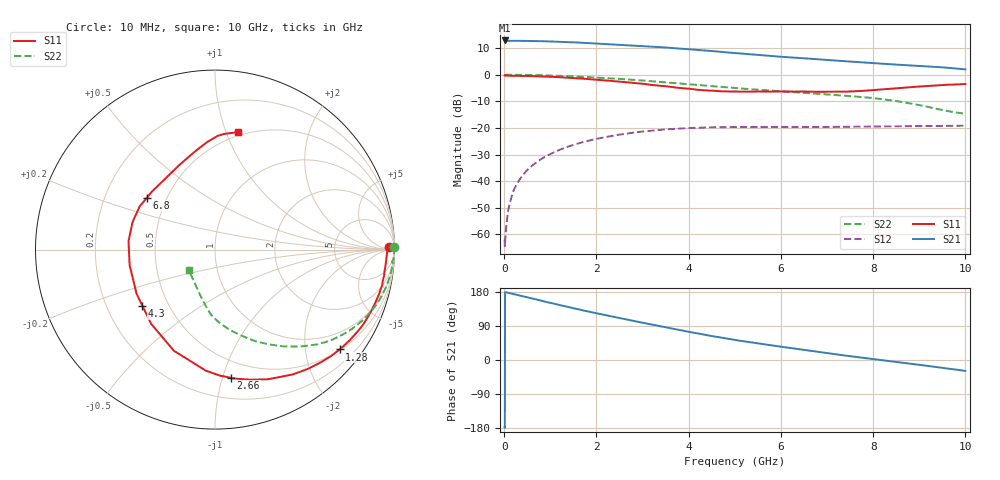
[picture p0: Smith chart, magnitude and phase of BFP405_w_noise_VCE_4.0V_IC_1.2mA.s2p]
! Infineon Technologies  Discrete & RF Semiconductors
! BFP405
! VCE =  4.0 V,  IC =  1.2 mA
! Common Emitter S-Parameters:  Jan 2016
# GHz  S  MA  R  50
!  f  S11  S21  S12  S22
! GHz  MAG  ANG  MAG  ANG  MAG  ANG  MAG  ANG
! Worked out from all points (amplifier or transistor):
!   233 points, 10 MHz to 10 GHz, reference 50 ohm
!   highest |S21| = 12.9 dB at 10 MHz (marker M1)
!   |S21| within 3 dB of that: start of sweep to 3.76 GHz
!   unconditionally stable (mu >= 1): 5.036 GHz to end of sweep
!   at 200 MHz: K = 0.05, MSG = 28.2 dB, |S12| = -43.7 dB
!   at 1.74 GHz: K = 0.23, MSG = 18.6 dB, |S12| = -25.2 dB
!   at 10 GHz: K = 1.89, MAG = 5.2 dB, |S12| = -19.2 dB
!   lowest NFmin = 0.75 dB at 900 MHz
!   S11 on the Smith chart (normalised r, x): 10 MHz: 52, +22; 1.28 GHz: 0.52, -2.76; 2.66 GHz: 0.36, -1.07; 4.3 GHz: 0.36, -0.30; 6.8 GHz: 0.39, +0.29; 10 GHz: 0.47, +1.10
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0.01  0.9681 0.8  4.397 -177.7  0.0008 -4.1  1 0.7
0.015  0.9641 0.3  4.357 -179.3  0.0006 33.7  0.997 0.5
0.02  0.9601 -0.3  4.321 179.0  0.0007 78.2  0.994 0.2
0.03  0.9593 -0.8  4.315 178.9  0.001 83.7  0.995 -0.0
0.07  0.9571 -2.2  4.312 177.9  0.0022 86.7  0.9974 -0.8
0.12  0.9556 -3.5  4.324 176.4  0.0038 84.4  0.9973 -1.8
0.2  0.9532 -5.9  4.314 174.1  0.0065 85.5  0.9956 -3.1
0.34  0.951 -10.1  4.313 170.2  0.0109 83.3  0.9924 -5.2
0.8  0.9307 -24.0  4.263 156.7  0.0259 76.9  0.9759 -12.3
1.28  0.8895 -38.7  4.129 143.0  0.0412 68.7  0.9459 -19.6
1.68  0.8452 -51.2  3.988 131.8  0.0533 61.7  0.9131 -25.4
2.2  0.7801 -67.8  3.774 118.2  0.0675 52.7  0.8642 -32.4
2.66  0.7196 -82.9  3.58 106.8  0.0784 44.9  0.8158 -38.4
3  0.6762 -94.4  3.449 98.4  0.0855 39.3  0.7782 -42.7
3.4  0.6168 -108.3  3.275 88.8  0.092 32.7  0.7296 -47.5
4  0.5459 -130.6  3.02 74.4  0.0995 23.7  0.6601 -54.8
4.3  0.5116 -142.2  2.867 67.9  0.1013 19.6  0.6279 -58.0
5.1  0.4806 -172.8  2.506 51.1  0.1039 10.0  0.5532 -66.6
6  0.4843 161.8  2.173 35.1  0.1036 2.6  0.488 -74.6
6.8  0.4773 142.9  1.946 21.6  0.1041 -2.0  0.4377 -81.9
8.4  0.546 103.9  1.567 -3.6  0.1069 -10.0  0.329 -97.8
10  0.6669 78.9  1.258 -28.8  0.1101 -15.9  0.185 -142.7
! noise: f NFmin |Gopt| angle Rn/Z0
0.9  0.75  0.69  15  0.52
1.8  1.17  0.55  31  0.46
2.4  1.43  0.45  42  0.42
3  1.52  0.46  56  0.39
4  1.76  0.33  84  0.29
5  2.09  0.3  121  0.2
